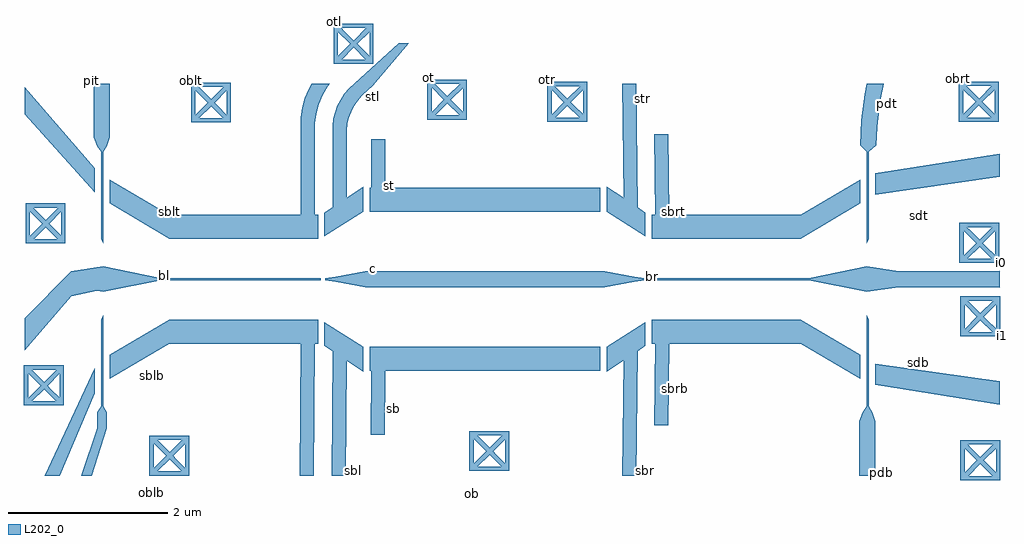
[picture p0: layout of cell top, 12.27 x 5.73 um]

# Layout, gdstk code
import gdstk
lib = gdstk.Library(unit=1e-6, precision=1e-09)
def P(c, l, *ps):  # polygons
    for p in ps: c.add(gdstk.Polygon(p, *l))
L202_0 = (202, 0)

top = lib.new_cell('top')
P(top, L202_0, [(6.473,-2.524),(6.473,-2.024),(6.973,-2.024),(6.973,-2.075),(6.568,-2.075),(6.614,-2.121),(6.527,-2.121),(6.527,-2.434),(6.683,-2.277),(6.527,-2.121),(6.614,-2.121),(6.727,-2.234),(6.886,-2.075),(6.973,-2.075),(6.973,-2.122),(6.924,-2.122),(6.769,-2.277),(6.812,-2.32),(6.726,-2.32),(6.573,-2.473),(6.879,-2.473),(6.726,-2.32),(6.812,-2.32),(6.924,-2.431),(6.924,-2.122),(6.973,-2.122),(6.973,-2.524)],
  [(-3.715,-2.466),(-3.715,-1.966),(-3.215,-1.966),(-3.215,-2.017),(-3.62,-2.017),(-3.574,-2.063),(-3.661,-2.063),(-3.661,-2.376),(-3.505,-2.219),(-3.661,-2.063),(-3.574,-2.063),(-3.461,-2.176),(-3.302,-2.017),(-3.215,-2.017),(-3.215,-2.064),(-3.264,-2.064),(-3.419,-2.219),(-3.376,-2.262),(-3.462,-2.262),(-3.615,-2.415),(-3.309,-2.415),(-3.462,-2.262),(-3.376,-2.262),(-3.264,-2.373),(-3.264,-2.064),(-3.215,-2.064),(-3.215,-2.466)],
  [(0.306,-2.409),(0.306,-1.909),(0.806,-1.909),(0.806,-1.96),(0.401,-1.96),(0.447,-2.006),(0.36,-2.006),(0.36,-2.319),(0.516,-2.162),(0.36,-2.006),(0.447,-2.006),(0.56,-2.119),(0.719,-1.96),(0.806,-1.96),(0.806,-2.007),(0.757,-2.007),(0.602,-2.162),(0.645,-2.205),(0.559,-2.205),(0.406,-2.358),(0.712,-2.358),(0.559,-2.205),(0.645,-2.205),(0.757,-2.316),(0.757,-2.007),(0.806,-2.007),(0.806,-2.409)],
  [(-5.032,-2.47),(-4.404,-1.121),(-4.404,-1.429),(-4.842,-2.47)],
  [(-5.292,-1.583),(-5.292,-1.083),(-4.792,-1.083),(-4.792,-1.134),(-5.197,-1.134),(-5.151,-1.18),(-5.238,-1.18),(-5.238,-1.493),(-5.082,-1.336),(-5.238,-1.18),(-5.151,-1.18),(-5.038,-1.293),(-4.879,-1.134),(-4.792,-1.134),(-4.792,-1.181),(-4.841,-1.181),(-4.996,-1.336),(-4.953,-1.379),(-5.039,-1.379),(-5.192,-1.532),(-4.886,-1.532),(-5.039,-1.379),(-4.953,-1.379),(-4.841,-1.49),(-4.841,-1.181),(-4.792,-1.181),(-4.792,-1.583)],
  [(6.968,-1.574),(5.406,-1.326),(5.406,-1.06),(6.968,-1.284)],
  [(-0.933,-1.955),(-0.926,-1.149),(-0.95,-1.149),(-0.95,-0.849),(1.952,-0.849),(1.952,-1.149),(-0.751,-1.149),(-0.758,-1.955)],
  [(-1.425,-2.47),(-1.412,-0.906),(-1.516,-0.837),(-1.516,-0.538),(-1.03,-0.849),(-1.03,-1.161),(-1.237,-1.023),(-1.249,-2.47)],
  [(2.225,-2.47),(2.243,-1.02),(2.032,-1.161),(2.032,-0.849),(2.518,-0.538),(2.518,-0.837),(2.418,-0.903),(2.418,-0.904),(2.4,-2.47)],
  [(-1.826,-2.47),(-1.812,-0.809),(-3.466,-0.809),(-4.214,-1.251),(-4.214,-0.951),(-3.466,-0.509),(-1.596,-0.509),(-1.596,-0.809),(-1.638,-0.809),(-1.652,-2.47)],
  [(2.631,-1.832),(2.643,-0.809),(2.598,-0.809),(2.598,-0.509),(4.468,-0.509),(5.216,-0.951),(5.216,-1.251),(4.468,-0.809),(2.818,-0.809),(2.806,-1.832)],
  [(-4.571,-2.47),(-4.373,-1.869),(-4.373,-1.673),(-4.324,-1.598),(-4.324,-0.499),(-4.294,-0.449),(-4.294,-1.598),(-4.253,-1.673),(-4.253,-1.869),(-4.442,-2.47)],
  [(5.207,-2.47),(5.207,-1.783),(5.247,-1.673),(5.296,-1.598),(5.296,-0.449),(5.326,-0.499),(5.326,-1.598),(5.367,-1.673),(5.407,-1.783),(5.407,-2.47)],
  [(6.473,-0.716),(6.473,-0.216),(6.973,-0.216),(6.973,-0.267),(6.568,-0.267),(6.614,-0.313),(6.527,-0.313),(6.527,-0.626),(6.683,-0.469),(6.527,-0.313),(6.614,-0.313),(6.727,-0.426),(6.886,-0.267),(6.973,-0.267),(6.973,-0.314),(6.924,-0.314),(6.769,-0.469),(6.812,-0.512),(6.726,-0.512),(6.573,-0.665),(6.879,-0.665),(6.726,-0.512),(6.812,-0.512),(6.924,-0.623),(6.924,-0.314),(6.973,-0.314),(6.973,-0.716)],
  [(-1.006,-0.099),(-1.377,-0.029),(-1.506,-0.009),(-1.506,0.011),(-1.377,0.031),(-1.006,0.101),(2.007,0.101),(2.378,0.031),(2.507,0.011),(2.507,-0.009),(2.378,-0.029),(2.007,-0.099)],
  [(-5.285,-0.893),(-5.285,-0.491),(-4.699,0.101),(-4.294,0.161),(-3.566,0.011),(-1.566,0.011),(-1.566,-0.009),(-3.566,-0.009),(-4.294,-0.159),(-4.375,-0.147),(-4.699,-0.214)],
  [(5.296,-0.159),(4.568,-0.009),(2.567,-0.009),(2.567,0.011),(4.568,0.011),(5.296,0.161),(5.701,0.101),(6.968,0.11),(6.968,-0.108),(5.701,-0.099)],
  [(6.463,0.208),(6.463,0.708),(6.963,0.708),(6.963,0.657),(6.558,0.657),(6.604,0.611),(6.517,0.611),(6.517,0.298),(6.673,0.455),(6.517,0.611),(6.604,0.611),(6.717,0.498),(6.876,0.657),(6.963,0.657),(6.963,0.61),(6.914,0.61),(6.759,0.455),(6.802,0.412),(6.716,0.412),(6.563,0.259),(6.869,0.259),(6.716,0.412),(6.802,0.412),(6.914,0.301),(6.914,0.61),(6.963,0.61),(6.963,0.208)],
  [(-5.272,0.453),(-5.272,0.953),(-4.772,0.953),(-4.772,0.902),(-5.177,0.902),(-5.131,0.856),(-5.218,0.856),(-5.218,0.543),(-5.062,0.7),(-5.218,0.856),(-5.131,0.856),(-5.018,0.743),(-4.859,0.902),(-4.772,0.902),(-4.772,0.855),(-4.821,0.855),(-4.976,0.7),(-4.933,0.657),(-5.019,0.657),(-5.172,0.504),(-4.866,0.504),(-5.019,0.657),(-4.933,0.657),(-4.821,0.546),(-4.821,0.855),(-4.772,0.855),(-4.772,0.453)],
  [(5.406,1.064),(5.406,1.33),(6.968,1.578),(6.968,1.288)],
  [(-0.95,0.851),(-0.95,1.151),(-0.927,1.151),(-0.927,1.762),(-0.871,1.762),(-0.871,1.757),(-0.751,1.757),(-0.751,1.151),(1.952,1.151),(1.952,0.851)],
  [(2.598,0.511),(2.598,0.811),(2.643,0.811),(2.631,1.823),(2.806,1.823),(2.818,0.811),(4.468,0.811),(5.216,1.253),(5.216,0.953),(4.468,0.511)],
  [(-4.404,1.093),(-5.285,2.076),(-5.285,2.415),(-4.404,1.394)],
  [(-4.294,0.451),(-4.324,0.501),(-4.324,1.6),(-4.373,1.675),(-4.415,1.785),(-4.415,2.456),(-4.215,2.456),(-4.215,1.785),(-4.253,1.675),(-4.294,1.6)],
  [(-3.466,0.511),(-4.214,0.953),(-4.214,1.253),(-3.466,0.811),(-1.814,0.811),(-1.814,2.029),(-1.797,2.154),(-1.764,2.275),(-1.714,2.391),(-1.675,2.456),(-1.449,2.456),(-1.475,2.424),(-1.539,2.316),(-1.588,2.202),(-1.621,2.081),(-1.638,1.958),(-1.638,0.811),(-1.596,0.811),(-1.596,0.511)],
  [(2.518,0.54),(2.032,0.851),(2.032,1.163),(2.243,1.022),(2.225,2.456),(2.399,2.456),(2.418,0.906),(2.418,0.905),(2.518,0.839)],
  [(5.296,0.451),(5.296,1.6),(5.218,1.686),(5.231,1.997),(5.272,2.324),(5.297,2.456),(5.511,2.456),(5.471,2.241),(5.431,1.918),(5.42,1.686),(5.326,1.6),(5.326,0.501)],
  [(-3.193,1.971),(-3.193,2.471),(-2.693,2.471),(-2.693,2.42),(-3.098,2.42),(-3.052,2.374),(-3.139,2.374),(-3.139,2.061),(-2.983,2.218),(-3.139,2.374),(-3.052,2.374),(-2.939,2.261),(-2.78,2.42),(-2.693,2.42),(-2.693,2.373),(-2.742,2.373),(-2.897,2.218),(-2.854,2.175),(-2.94,2.175),(-3.093,2.022),(-2.787,2.022),(-2.94,2.175),(-2.854,2.175),(-2.742,2.064),(-2.742,2.373),(-2.693,2.373),(-2.693,1.971)],
  [(1.283,1.98),(1.283,2.48),(1.783,2.48),(1.783,2.429),(1.378,2.429),(1.424,2.383),(1.337,2.383),(1.337,2.07),(1.493,2.227),(1.337,2.383),(1.424,2.383),(1.537,2.27),(1.696,2.429),(1.783,2.429),(1.783,2.382),(1.734,2.382),(1.579,2.227),(1.622,2.184),(1.536,2.184),(1.383,2.031),(1.689,2.031),(1.536,2.184),(1.622,2.184),(1.734,2.073),(1.734,2.382),(1.783,2.382),(1.783,1.98)],
  [(6.456,1.981),(6.456,2.481),(6.956,2.481),(6.956,2.43),(6.551,2.43),(6.597,2.384),(6.51,2.384),(6.51,2.071),(6.666,2.228),(6.51,2.384),(6.597,2.384),(6.71,2.271),(6.869,2.43),(6.956,2.43),(6.956,2.383),(6.907,2.383),(6.752,2.228),(6.795,2.185),(6.709,2.185),(6.556,2.032),(6.862,2.032),(6.709,2.185),(6.795,2.185),(6.907,2.074),(6.907,2.383),(6.956,2.383),(6.956,1.981)],
  [(-0.225,2.008),(-0.225,2.508),(0.275,2.508),(0.275,2.457),(-0.13,2.457),(-0.084,2.411),(-0.171,2.411),(-0.171,2.098),(-0.015,2.255),(-0.171,2.411),(-0.084,2.411),(0.029,2.298),(0.188,2.457),(0.275,2.457),(0.275,2.41),(0.226,2.41),(0.071,2.255),(0.114,2.212),(0.028,2.212),(-0.125,2.059),(0.181,2.059),(0.028,2.212),(0.114,2.212),(0.226,2.101),(0.226,2.41),(0.275,2.41),(0.275,2.008)],
  [(-1.516,0.54),(-1.516,0.839),(-1.414,0.907),(-1.414,1.93),(-1.404,2.016),(-1.383,2.1),(-1.353,2.181),(-1.314,2.258),(-1.265,2.33),(-1.209,2.396),(-0.582,2.966),(-0.458,2.966),(-0.912,2.43),(-1.048,2.306),(-1.1,2.245),(-1.145,2.179),(-1.182,2.107),(-1.21,2.032),(-1.228,1.954),(-1.238,1.874),(-1.238,1.024),(-1.03,1.163),(-1.03,0.851)],
  [(-1.401,2.71),(-1.401,3.21),(-0.901,3.21),(-0.901,3.159),(-1.306,3.159),(-1.26,3.113),(-1.347,3.113),(-1.347,2.8),(-1.191,2.957),(-1.347,3.113),(-1.26,3.113),(-1.147,3),(-0.988,3.159),(-0.901,3.159),(-0.901,3.112),(-0.95,3.112),(-1.105,2.957),(-1.062,2.914),(-1.148,2.914),(-1.301,2.761),(-0.995,2.761),(-1.148,2.914),(-1.062,2.914),(-0.95,2.803),(-0.95,3.112),(-0.901,3.112),(-0.901,2.71)])
top.add(gdstk.Label('i0', (6.998,0.209), layer=202, texttype=0))
top.add(gdstk.Label('i1', (7.005,-0.705), layer=202, texttype=0))
top.add(gdstk.Label('sit', (-5.899,1.707), layer=202, texttype=0))
top.add(gdstk.Label('sib', (-5.697,-2.251), layer=202, texttype=0))
top.add(gdstk.Label('bl', (-3.525,0.043), layer=202, texttype=0))
top.add(gdstk.Label('br', (2.601,0.04), layer=202, texttype=0))
top.add(gdstk.Label('c', (-0.9,0.139), layer=202, texttype=0))
top.add(gdstk.Label('pit', (-4.442,2.504), layer=202, texttype=0))
top.add(gdstk.Label('sblb', (-3.671,-1.208), layer=202, texttype=0))
top.add(gdstk.Label('sblt', (-3.464,0.855), layer=202, texttype=0))
top.add(gdstk.Label('st', (-0.702,1.184), layer=202, texttype=0))
top.add(gdstk.Label('sb', (-0.648,-1.619), layer=202, texttype=0))
top.add(gdstk.Label('sbrb', (2.897,-1.372), layer=202, texttype=0))
top.add(gdstk.Label('sbl', (-1.152,-2.407), layer=202, texttype=0))
top.add(gdstk.Label('stl', (-0.912,2.295), layer=202, texttype=0))
top.add(gdstk.Label('sbr', (2.517,-2.407), layer=202, texttype=0))
top.add(gdstk.Label('str', (2.48,2.274), layer=202, texttype=0))
top.add(gdstk.Label('sbrt', (2.875,0.855), layer=202, texttype=0))
top.add(gdstk.Label('pdt', (5.553,2.215), layer=202, texttype=0))
top.add(gdstk.Label('pdb', (5.482,-2.434), layer=202, texttype=0))
top.add(gdstk.Label('sdb', (5.955,-1.043), layer=202, texttype=0))
top.add(gdstk.Label('sdt', (5.963,0.8), layer=202, texttype=0))
top.add(gdstk.Label('oblt', (-3.191,2.502), layer=202, texttype=0))
top.add(gdstk.Label('ot', (-0.215,2.532), layer=202, texttype=0))
top.add(gdstk.Label('otr', (1.286,2.508), layer=202, texttype=0))
top.add(gdstk.Label('otl', (-1.391,3.234), layer=202, texttype=0))
top.add(gdstk.Label('obrt', (6.447,2.528), layer=202, texttype=0))
top.add(gdstk.Label('obrb', (6.512,-2.842), layer=202, texttype=0))
top.add(gdstk.Label('ob', (0.342,-2.687), layer=202, texttype=0))
top.add(gdstk.Label('oblb', (-3.696,-2.685), layer=202, texttype=0))
top.add(gdstk.Label('oit', (-5.849,0.691), layer=202, texttype=0))
top.add(gdstk.Label('oib', (-5.752,-1.443), layer=202, texttype=0))

lib.write_gds('top.gds')
